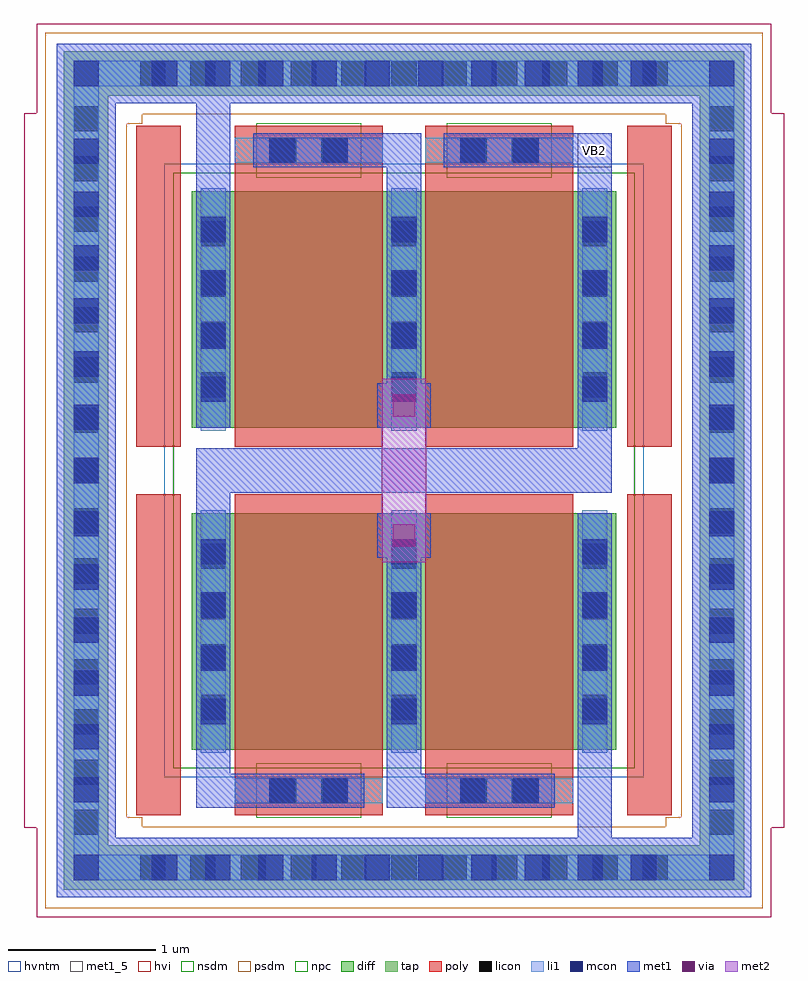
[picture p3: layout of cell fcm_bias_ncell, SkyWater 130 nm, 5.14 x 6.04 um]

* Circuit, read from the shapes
.subckt fcm_bias_ncell VB2
XM1 n1 VB2 VB2 VSUBS sky130_fd_pr__nfet_g5v0d10v5 w=1.6 l=1 m=2
XM2 n1 n1 VSUBS VSUBS sky130_fd_pr__nfet_g5v0d10v5 w=1.6 l=1 m=2
.ends

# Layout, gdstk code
from math import pi, radians
import gdstk
lib = gdstk.Library(unit=1e-6, precision=1e-09)
def R(c, l, rs):  # rectangles x0, y0, x1, y1
    for r in rs: c.add(gdstk.rectangle(r[:2], r[2:], *l))
def A(c, l, x, y, w, h, nx, ny, dx, dy):  # array of equal rectangles
    R(c, l, [(x+i*dx, y+j*dy, x+i*dx+w, y+j*dy+h) for i in range(nx) for j in range(ny)])
diff = (65, 20)
tap = (65, 44)
poly = (66, 20)
licon = (66, 44)
li1 = (67, 20)
mcon = (67, 44)
met1_5 = (68, 5)
met1 = (68, 20)
via = (68, 44)
met2 = (69, 20)
hvi = (75, 20)
nsdm = (93, 44)
psdm = (94, 20)
npc = (95, 20)
hvntm = (125, 20)

sky130_fd_pr__nfet_g5v0d = lib.new_cell('sky130_fd_pr__nfet_g5v0d10v5_SKZWVA')
R(sky130_fd_pr__nfet_g5v0d, diff, [(-1.435,-0.955,1.435,0.645)])
R(sky130_fd_pr__nfet_g5v0d, poly, [(-1.145,-1.085,-0.145,1.085), (0.145,-1.085,1.145,1.085)])
A(sky130_fd_pr__nfet_g5v0d, licon, -1.375, -0.75, 0.17, 0.17, 3, 4, 1.29, 0.34)
R(sky130_fd_pr__nfet_g5v0d, licon, [(-0.9,0.835,-0.73,1.005), (-0.56,0.835,-0.39,1.005), (0.39,0.835,0.56,1.005), (0.73,0.835,0.9,1.005)])
A(sky130_fd_pr__nfet_g5v0d, li1, -1.375, -0.975, 0.17, 1.64, 3, 1, 1.29, 0)
R(sky130_fd_pr__nfet_g5v0d, li1, [(-1.145,0.835,-0.145,1.005), (0.145,0.835,1.145,1.005)])
A(sky130_fd_pr__nfet_g5v0d, mcon, -1.375, -0.78, 0.17, 0.17, 3, 4, 1.29, 0.36)
R(sky130_fd_pr__nfet_g5v0d, mcon, [(-0.91,0.835,-0.74,1.005), (-0.55,0.835,-0.38,1.005), (0.38,0.835,0.55,1.005), (0.74,0.835,0.91,1.005)])
A(sky130_fd_pr__nfet_g5v0d, met1, -1.405, -0.955, 0.23, 1.6, 3, 1, 1.29, 0)
R(sky130_fd_pr__nfet_g5v0d, met1, [(-1.02,0.805,-0.27,1.035), (0.27,0.805,1.02,1.035)])
R(sky130_fd_pr__nfet_g5v0d, hvi, [(-1.62,-1.14,1.62,0.83)])
R(sky130_fd_pr__nfet_g5v0d, nsdm, [(-1.56,-1.08,1.56,0.77)])
R(sky130_fd_pr__nfet_g5v0d, npc, [(-1,0.735,-0.29,1.105), (0.29,0.735,1,1.105)])
R(sky130_fd_pr__nfet_g5v0d, hvntm, [(-1.62,-1.14,1.62,0.83)])

fcm_bias_ncell_2 = lib.new_cell('fcm_bias_ncell_2')
R(fcm_bias_ncell_2, tap, [(-0.94,-0.145,-0.64,2.54), (3.36,-0.145,3.66,2.54), (-0.94,2.54,3.66,2.84)])
R(fcm_bias_ncell_2, poly, [(-0.45,0.165,-0.15,2.335), (2.87,0.165,3.17,2.335)])
R(fcm_bias_ncell_2, li1, [(-0.875,-0.145,-0.705,2.605), (3.425,-0.145,3.595,2.605), (-0.875,2.605,3.595,2.775)])
R(fcm_bias_ncell_2, met1, [(-0.99,-0.145,-0.59,2.49), (-0.045,-0.145,2.765,0.155), (3.31,-0.145,3.71,2.49), (2.535,0.155,2.765,0.295), (-0.045,1.555,0.185,2.49), (1.245,1.85,1.475,2.055), (2.535,1.85,2.765,2.055), (1.09,2.055,1.475,2.285), (2.38,2.055,2.765,2.285), (-0.99,2.49,3.71,2.89)])
R(fcm_bias_ncell_2, hvi, [(-1.21,-0.53,-0.37,0.11), (3.09,-0.53,3.93,0.11), (-1.21,0.11,-0.26,2.08), (2.98,0.11,3.93,2.08), (-1.21,2.08,3.93,2.355), (-1.125,2.355,3.845,3.025)])
R(fcm_bias_ncell_2, psdm, [(-1.065,-0.27,-0.515,2.415), (3.235,-0.27,3.785,2.415), (-1.065,2.415,3.785,2.965)])
fcm_bias_ncell_2.add(gdstk.Reference(sky130_fd_pr__nfet_g5v0d, (1.36,1.25)))

fcm_bias_ncell = lib.new_cell('fcm_bias_ncell')
R(fcm_bias_ncell, tap, [(0.365,-2.61,4.235,-2.44), (0.065,-2.31,0.235,2.63), (4.365,-2.31,4.535,2.63), (0.365,2.76,4.235,2.93)])
A(fcm_bias_ncell, licon, 0.515, -2.61, 0.17, 0.17, 11, 2, 0.34, 5.37)
A(fcm_bias_ncell, licon, 0.065, -2.305, 0.17, 0.17, 1, 15, 0, 0.34)
A(fcm_bias_ncell, licon, 4.365, -2.305, 0.17, 0.17, 1, 15, 0, 0.34)
R(fcm_bias_ncell, li1, [(0.065,-2.61,4.535,-2.44), (0.065,-2.44,0.235,2.76), (4.365,-2.44,4.535,2.76), (0.065,2.76,4.535,2.93)])
A(fcm_bias_ncell, mcon, 0.595, -2.61, 0.17, 0.17, 10, 2, 0.36, 5.37)
A(fcm_bias_ncell, mcon, 0.065, -2.085, 0.17, 0.17, 1, 13, 0, 0.36)
A(fcm_bias_ncell, mcon, 4.365, -2.085, 0.17, 0.17, 1, 13, 0, 0.36)
R(fcm_bias_ncell, mcon, [(0.065,-2.61,0.235,-2.44), (4.365,-2.61,4.535,-2.44), (0.065,2.76,0.235,2.93), (4.365,2.76,4.535,2.93)])
R(fcm_bias_ncell, met1_5, [(3.475,2.21,3.705,2.44)])
R(fcm_bias_ncell, met1, [(0.065,-2.61,4.535,-2.44), (0.065,-2.44,0.235,2.76), (4.365,-2.44,4.535,2.76), (2.12,-0.43,2.48,-0.13), (2.12,0.45,2.48,0.75), (0.065,2.76,4.535,2.93)])
R(fcm_bias_ncell, via, [(2.225,-0.355,2.375,-0.205), (2.225,0.525,2.375,0.675)])
R(fcm_bias_ncell, met2, [(2.15,-0.46,2.45,0.78)])
R(fcm_bias_ncell, hvi, [(-0.12,-2.795,4.72,-2.255), (-0.27,-2.255,0.72,-1.955), (3.88,-2.255,4.87,-1.955), (-0.27,-1.955,0.57,0.055), (4.03,-1.955,4.87,0.055), (-0.27,0.055,4.87,0.265), (-0.27,0.265,0.57,2.275), (4.03,0.265,4.87,2.275), (-0.27,2.275,0.72,2.575), (3.88,2.275,4.87,2.575), (-0.12,2.575,4.72,3.115)])
R(fcm_bias_ncell, nsdm, [(0.74,-0.005,3.86,0.325)])
R(fcm_bias_ncell, psdm, [(0.24,-2.735,4.36,-2.565), (0.07,-2.565,4.53,-2.435), (-0.06,-2.435,4.66,-2.315), (-0.06,-2.315,0.53,-2.185), (4.07,-2.315,4.66,-2.185), (-0.06,-2.185,0.36,2.505), (4.24,-2.185,4.66,2.505), (-0.06,2.505,0.53,2.635), (4.07,2.505,4.66,2.635), (-0.06,2.635,4.66,2.755), (0.07,2.755,4.53,2.885), (0.24,2.885,4.36,3.055)])
R(fcm_bias_ncell, hvntm, [(0.68,0.055,3.92,0.265)])
fcm_bias_ncell.add(gdstk.Reference(fcm_bias_ncell_2, (3.66,0.165), rotation=pi))
fcm_bias_ncell.add(gdstk.Reference(fcm_bias_ncell_2, (0.94,0.155)))
fcm_bias_ncell.add(gdstk.Label('VB2', (3.59,2.325), layer=68, texttype=5))

lib.write_gds('fcm_bias_ncell.gds')
